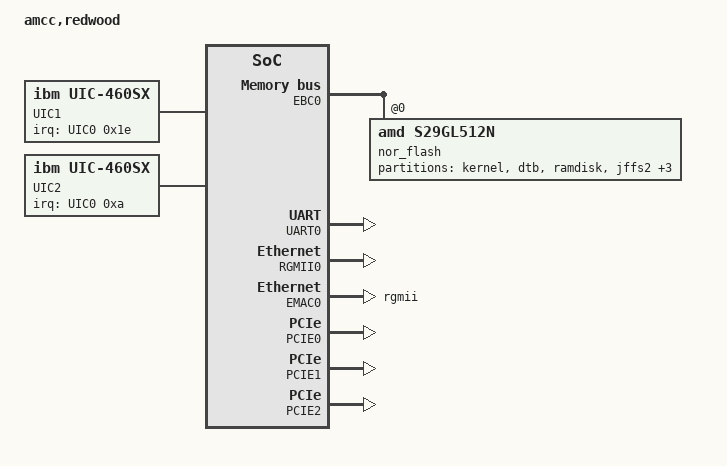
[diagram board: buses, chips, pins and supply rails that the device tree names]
FASTVC-BENCH-CORPUS:linux-main-100k-v1-e0bd41dc-8e12-4f1b-978d-a3645ae59da0
/*
 * Device Tree Source for AMCC Redwood(460SX)
 *
 * Copyright 2008 AMCC <tmarri@amcc.com>
 *
 * This file is licensed under the terms of the GNU General Public
 * License version 2.  This program is licensed "as is" without
 * any warranty of any kind, whether express or implied.
 */

/dts-v1/;

/ {
	#address-cells = <2>;
	#size-cells = <1>;
	model = "amcc,redwood";
	compatible = "amcc,redwood";
	dcr-parent = <&{/cpus/cpu@0}>;

	aliases {
		ethernet0 = &EMAC0;
		serial0 = &UART0;
	};

	cpus {
		#address-cells = <1>;
		#size-cells = <0>;

		cpu@0 {
			device_type = "cpu";
			model = "PowerPC,460SX";
			reg = <0x00000000>;
			clock-frequency = <0>; /* Filled in by U-Boot */
			timebase-frequency = <0>; /* Filled in by U-Boot */
			i-cache-line-size = <32>;
			d-cache-line-size = <32>;
			i-cache-size = <32768>;
			d-cache-size = <32768>;
			dcr-controller;
			dcr-access-method = "native";
		};
	};
/* bench 24042.1.0 9213531cf7e1 */
/* bench 24042.1.1 57da77cfb874 */
/* bench 24042.1.2 cf34f35541d9 */
/* bench 24042.1.3 91c715f234ec */
/* bench 24042.1.4 500ba5153113 */
/* bench 24042.1.5 2ee37fc1f83f */
/* bench 24042.1.6 52c940d639a3 */
/* bench 24042.1.7 a8ec9da0f8bd */
/* bench 24042.1.8 0752440207c8 */
/* bench 24042.1.9 63dc713dfe7d */
	memory {
		device_type = "memory";
		reg = <0x00000000 0x00000000 0x00000000>; /* Filled in by U-Boot */
	};

	UIC0: interrupt-controller0 {
		compatible = "ibm,uic-460sx","ibm,uic";
		interrupt-controller;
		cell-index = <0>;
		dcr-reg = <0x0c0 0x009>;
		#address-cells = <0>;
		#size-cells = <0>;
		#interrupt-cells = <2>;
	};

	UIC1: interrupt-controller1 {
		compatible = "ibm,uic-460sx","ibm,uic";
		interrupt-controller;
		cell-index = <1>;
		dcr-reg = <0x0d0 0x009>;
		#address-cells = <0>;
		#size-cells = <0>;
		#interrupt-cells = <2>;
		interrupts = <0x1e 0x4 0x1f 0x4>; /* cascade */
		interrupt-parent = <&UIC0>;
	};

	UIC2: interrupt-controller2 {
		compatible = "ibm,uic-460sx","ibm,uic";
		interrupt-controller;
		cell-index = <2>;
		dcr-reg = <0x0e0 0x009>;
		#address-cells = <0>;
		#size-cells = <0>;
		#interrupt-cells = <2>;
		interrupts = <0xa 0x4 0xb 0x4>; /* cascade */
		interrupt-parent = <&UIC0>;
	};

	UIC3: interrupt-controller3 {
		compatible = "ibm,uic-460sx","ibm,uic";
		interrupt-controller;
		cell-index = <3>;
		dcr-reg = <0x0f0 0x009>;
		#address-cells = <0>;
		#size-cells = <0>;
/* bench 14323.2.0 25347cfe6330 */
/* bench 14323.2.1 9abb6788cdcc */
/* bench 14323.2.2 50cd8daceb9e */
/* bench 14323.2.3 b58559bcd802 */
/* bench 14323.2.4 16966b8de779 */
/* bench 14323.2.5 27c1b5e3bbb8 */
/* bench 14323.2.6 7397d9f5b22e */
/* bench 14323.2.7 c6625d1f63d0 */
/* bench 14323.2.8 8dd9ec275fb1 */
/* bench 14323.2.9 d8b6c17536d9 */
/* bench 14323.2.10 549672606c2b */
	};

	SDR0: sdr {
		compatible = "ibm,sdr-460sx";
		dcr-reg = <0x00e 0x002>;
	};

	CPR0: cpr {
		compatible = "ibm,cpr-460sx";
		dcr-reg = <0x00c 0x002>;
	};

	plb {
		compatible = "ibm,plb-460sx", "ibm,plb4";
		#address-cells = <2>;
		#size-cells = <1>;
		ranges;
		clock-frequency = <0>; /* Filled in by U-Boot */

		SDRAM0: sdram {
			compatible = "ibm,sdram-460sx", "ibm,sdram-405gp";
			dcr-reg = <0x010 0x002>;
		};

		MAL0: mcmal {
			compatible = "ibm,mcmal-460sx", "ibm,mcmal2";
			dcr-reg = <0x180 0x62>;
			num-tx-chans = <4>;
			num-rx-chans = <32>;
			#address-cells = <1>;
			#size-cells = <1>;
			interrupt-parent = <&UIC1>;
			interrupts = <	/*TXEOB*/ 0x6 0x4
					/*RXEOB*/ 0x7 0x4
					/*SERR*/  0x1 0x4
					/*TXDE*/  0x2 0x4
					/*RXDE*/  0x3 0x4
					/*COAL TX0*/ 0x18 0x2
					/*COAL TX1*/ 0x19 0x2
					/*COAL TX2*/ 0x1a 0x2
					/*COAL TX3*/ 0x1b 0x2
					/*COAL RX0*/ 0x1c 0x2
					/*COAL RX1*/ 0x1d 0x2
					/*COAL RX2*/ 0x1e 0x2
					/*COAL RX3*/ 0x1f 0x2>;
		};

		POB0: opb {
			compatible = "ibm,opb-460sx", "ibm,opb";
			#address-cells = <1>;
			#size-cells = <1>;
			ranges = <0xb0000000 0x00000004 0xb0000000 0x50000000>;
			clock-frequency = <0>; /* Filled in by U-Boot */

			EBC0: ebc {
				compatible = "ibm,ebc-460sx", "ibm,ebc";
				dcr-reg = <0x012 0x002>;
				#address-cells = <2>;
				#size-cells = <1>;
				clock-frequency = <0>; /* Filled in by U-Boot */
				/* ranges property is supplied by U-Boot */
				interrupts = <0x6 0x4>;
				interrupt-parent = <&UIC1>;

				nor_flash@0,0 {
					compatible = "amd,s29gl512n", "cfi-flash";
					bank-width = <2>;
					reg = <0x0000000 0x00000000 0x04000000>;
					#address-cells = <1>;
					#size-cells = <1>;
					partition@0 {
						label = "kernel";
						reg = <0x00000000 0x001e0000>;
					};
					partition@1e0000 {
						label = "dtb";
						reg = <0x001e0000 0x00020000>;
					};
					partition@200000 {
						label = "ramdisk";
						reg = <0x00200000 0x01400000>;
					};
					partition@1600000 {
						label = "jffs2";
						reg = <0x01600000 0x00400000>;
					};
					partition@1a00000 {
						label = "user";
						reg = <0x01a00000 0x02560000>;
					};
					partition@3f60000 {
						label = "env";
						reg = <0x03f60000 0x00040000>;
					};
					partition@3fa0000 {
						label = "u-boot";
						reg = <0x03fa0000 0x00060000>;
					};
				};
			};

			UART0: serial@ef600200 {
				device_type = "serial";
				compatible = "ns16550";
				reg = <0xef600200 0x00000008>;
				virtual-reg = <0xef600200>;
				clock-frequency = <0>; /* Filled in by U-Boot */
				current-speed = <0>; /* Filled in by U-Boot */
				interrupt-parent = <&UIC0>;
				interrupts = <0x0 0x4>;
			};

			RGMII0: emac-rgmii@ef600900 {
				compatible = "ibm,rgmii-460sx", "ibm,rgmii";
				reg = <0xef600900 0x00000008>;
			};

			EMAC0: ethernet@ef600a00 {
				device_type = "network";
				compatible = "ibm,emac-460sx", "ibm,emac4";
				interrupt-parent = <&EMAC0>;
				interrupts = <0x0 0x1>;
				#interrupt-cells = <1>;
				#address-cells = <0>;
				#size-cells = <0>;
				interrupt-map = </*Status*/ 0x0 &UIC0 0x13 0x4
						 /*Wake*/   0x1 &UIC2 0x1d 0x4>;
				reg = <0xef600a00 0x00000070>;
				local-mac-address = [000000000000]; /* Filled in by U-Boot */
				mal-device = <&MAL0>;
				mal-tx-channel = <0>;
				mal-rx-channel = <0>;
				cell-index = <0>;
				max-frame-size = <9000>;
				rx-fifo-size = <4096>;
				tx-fifo-size = <2048>;
				rx-fifo-size-gige = <16384>;
				phy-mode = "rgmii";
				phy-map = <0x00000000>;
				rgmii-device = <&RGMII0>;
				rgmii-channel = <0>;
				has-inverted-stacr-oc;
				has-new-stacr-staopc;
			};
		};
		PCIE0: pcie@d00000000 {
			device_type = "pci";
			#interrupt-cells = <1>;
			#size-cells = <2>;
			#address-cells = <3>;
			compatible = "ibm,plb-pciex-460sx", "ibm,plb-pciex";
			primary;
			port = <0x0>; /* port number */
			reg = <0x0000000d 0x00000000 0x20000000	/* Config space access */
			       0x0000000c 0x10000000 0x00001000>;	/* Registers */
			dcr-reg = <0x100 0x020>;
			sdr-base = <0x300>;

			/* Outbound ranges, one memory and one IO,
			 * later cannot be changed
			 */
			ranges = <0x02000000 0x00000000 0x80000000 0x0000000e 0x00000000 0x00000000 0x80000000
				  0x01000000 0x00000000 0x00000000 0x0000000f 0x80000000 0x00000000 0x00010000>;

			/* Inbound 2GB range starting at 0 */
			dma-ranges = <0x42000000 0x0 0x0 0x0 0x0 0x0 0x80000000>;

			/* This drives busses 10 to 0x1f */
			bus-range = <0x10 0x1f>;

			/* Legacy interrupts (note the weird polarity, the bridge seems
			 * to invert PCIe legacy interrupts).
			 * We are de-swizzling here because the numbers are actually for
			 * port of the root complex virtual P2P bridge. But I want
			 * to avoid putting a node for it in the tree, so the numbers
			 * below are basically de-swizzled numbers.
			 * The real slot is on idsel 0, so the swizzling is 1:1
			 */
			interrupt-map-mask = <0x0 0x0 0x0 0x7>;
			interrupt-map = <
				0x0 0x0 0x0 0x1 &UIC3 0x0 0x4 /* swizzled int A */
				0x0 0x0 0x0 0x2 &UIC3 0x1 0x4 /* swizzled int B */
				0x0 0x0 0x0 0x3 &UIC3 0x2 0x4 /* swizzled int C */
				0x0 0x0 0x0 0x4 &UIC3 0x3 0x4 /* swizzled int D */>;
		};

		PCIE1: pcie@d20000000 {
			device_type = "pci";
			#interrupt-cells = <1>;
			#size-cells = <2>;
			#address-cells = <3>;
			compatible = "ibm,plb-pciex-460sx", "ibm,plb-pciex";
			primary;
			port = <0x1>; /* port number */
			reg = <0x0000000d 0x20000000 0x20000000	/* Config space access */
			       0x0000000c 0x10001000 0x00001000>;	/* Registers */
			dcr-reg = <0x120 0x020>;
			sdr-base = <0x340>;

			/* Outbound ranges, one memory and one IO,
			 * later cannot be changed
			 */
			ranges = <0x02000000 0x00000000 0x80000000 0x0000000e 0x80000000 0x00000000 0x80000000
				  0x01000000 0x00000000 0x00000000 0x0000000f 0x80010000 0x00000000 0x00010000>;

			/* Inbound 2GB range starting at 0 */
			dma-ranges = <0x42000000 0x0 0x0 0x0 0x0 0x0 0x80000000>;

			/* This drives busses 10 to 0x1f */
			bus-range = <0x20 0x2f>;

			/* Legacy interrupts (note the weird polarity, the bridge seems
			 * to invert PCIe legacy interrupts).
			 * We are de-swizzling here because the numbers are actually for
			 * port of the root complex virtual P2P bridge. But I want
			 * to avoid putting a node for it in the tree, so the numbers
			 * below are basically de-swizzled numbers.
			 * The real slot is on idsel 0, so the swizzling is 1:1
			 */
			interrupt-map-mask = <0x0 0x0 0x0 0x7>;
			interrupt-map = <
				0x0 0x0 0x0 0x1 &UIC3 0x4 0x4 /* swizzled int A */
				0x0 0x0 0x0 0x2 &UIC3 0x5 0x4 /* swizzled int B */
				0x0 0x0 0x0 0x3 &UIC3 0x6 0x4 /* swizzled int C */
				0x0 0x0 0x0 0x4 &UIC3 0x7 0x4 /* swizzled int D */>;
		};

		PCIE2: pcie@d40000000 {
			device_type = "pci";
			#interrupt-cells = <1>;
			#size-cells = <2>;
			#address-cells = <3>;
			compatible = "ibm,plb-pciex-460sx", "ibm,plb-pciex";
			primary;
			port = <0x2>; /* port number */
			reg = <0x0000000d 0x40000000 0x20000000	/* Config space access */
			       0x0000000c 0x10002000 0x00001000>;	/* Registers */
			dcr-reg = <0x140 0x020>;
			sdr-base = <0x370>;

			/* Outbound ranges, one memory and one IO,
			 * later cannot be changed
			 */
			ranges = <0x02000000 0x00000000 0x80000000 0x0000000f 0x00000000 0x00000000 0x80000000
				  0x01000000 0x00000000 0x00000000 0x0000000f 0x80020000 0x00000000 0x00010000>;

			/* Inbound 2GB range starting at 0 */
			dma-ranges = <0x42000000 0x0 0x0 0x0 0x0 0x0 0x80000000>;

			/* This drives busses 10 to 0x1f */
			bus-range = <0x30 0x3f>;

			/* Legacy interrupts (note the weird polarity, the bridge seems
			 * to invert PCIe legacy interrupts).
			 * We are de-swizzling here because the numbers are actually for
			 * port of the root complex virtual P2P bridge. But I want
			 * to avoid putting a node for it in the tree, so the numbers
			 * below are basically de-swizzled numbers.
			 * The real slot is on idsel 0, so the swizzling is 1:1
			 */
			interrupt-map-mask = <0x0 0x0 0x0 0x7>;
			interrupt-map = <
				0x0 0x0 0x0 0x1 &UIC3 0x8 0x4 /* swizzled int A */
				0x0 0x0 0x0 0x2 &UIC3 0x9 0x4 /* swizzled int B */
				0x0 0x0 0x0 0x3 &UIC3 0xa 0x4 /* swizzled int C */
				0x0 0x0 0x0 0x4 &UIC3 0xb 0x4 /* swizzled int D */>;
		};

		MSI: ppc4xx-msi@400300000 {
				compatible = "amcc,ppc4xx-msi", "ppc4xx-msi";
				reg = < 0x4 0x00300000 0x100
					0x4 0x00300000 0x100>;
				sdr-base = <0x3B0>;
				msi-data = <0x00000000>;
				msi-mask = <0x44440000>;
				interrupt-count = <3>;
				interrupts =<0 1 2 3>;
				interrupt-parent = <&UIC0>;
				#interrupt-cells = <1>;
				#address-cells = <0>;
				#size-cells = <0>;
				interrupt-map = <0 &UIC0 0xC 1
					1 &UIC0 0x0D 1
					2 &UIC0 0x0E 1
					3 &UIC0 0x0F 1>;
		};

	};


	chosen {
		stdout-path = "/plb/opb/serial@ef600200";
	};

};
